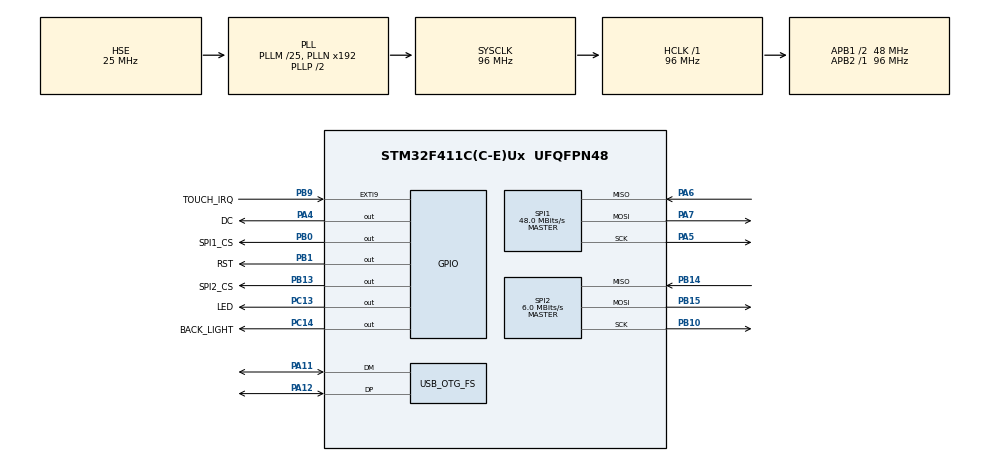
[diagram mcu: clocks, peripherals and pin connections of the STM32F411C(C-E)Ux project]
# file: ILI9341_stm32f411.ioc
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FREERTOS.Tasks01=defaultTask,0,128,StartDefaultTask,Default,NULL,Dynamic,NULL,NULL
Mcu.Family=STM32F4
Mcu.Name=STM32F411C(C-E)Ux
Mcu.Package=UFQFPN48
NVIC.OTG_FS_IRQn=true\:5\:0\:false\:false\:true\:true\:true\:true\:true
NVIC.PriorityGroup=NVIC_PRIORITYGROUP_4
NVIC.SPI2_IRQn=true\:5\:0\:false\:false\:true\:true\:true\:true\:true
NVIC.TIM4_IRQn=true\:15\:0\:false\:false\:true\:false\:false\:true\:true
NVIC.TimeBase=TIM4_IRQn
NVIC.TimeBaseIP=TIM4
PA11.Mode=Device_Only
PA11.Signal=USB_OTG_FS_DM
PA12.Mode=Device_Only
PA12.Signal=USB_OTG_FS_DP
PA13.Mode=Serial_Wire
PA13.Signal=SYS_JTMS-SWDIO
PA14.Mode=Serial_Wire
PA14.Signal=SYS_JTCK-SWCLK
PA4.GPIO_Label=DC
PA4.Signal=GPIO_Output
PA5.Mode=Full_Duplex_Master
PA5.Signal=SPI1_SCK
PA6.Mode=Full_Duplex_Master
PA6.Signal=SPI1_MISO
PA7.Mode=Full_Duplex_Master
PA7.Signal=SPI1_MOSI
PB0.GPIO_Label=SPI1_CS
PB0.Signal=GPIO_Output
PB1.GPIO_Label=RST
PB1.Signal=GPIO_Output
PB10.Mode=Full_Duplex_Master
PB10.Signal=SPI2_SCK
PB13.GPIO_Label=SPI2_CS
PB13.Signal=GPIO_Output
PB14.Mode=Full_Duplex_Master
PB14.Signal=SPI2_MISO
PB15.Mode=Full_Duplex_Master
PB15.Signal=SPI2_MOSI
PB9.GPIO_Label=TOUCH_IRQ
PB9.Signal=GPXTI9
PC13-ANTI_TAMP.GPIO_Label=LED
PC13-ANTI_TAMP.Signal=GPIO_Output
PC14-OSC32_IN.GPIO_Label=BACK_LIGHT
PC14-OSC32_IN.Signal=GPIO_Output
PH0\ -\ OSC_IN.Mode=HSE-External-Oscillator
PH0\ -\ OSC_IN.Signal=RCC_OSC_IN
PH1\ -\ OSC_OUT.Mode=HSE-External-Oscillator
PH1\ -\ OSC_OUT.Signal=RCC_OSC_OUT
ProjectManager.HeapSize=0x800
ProjectManager.StackSize=0x1000
ProjectManager.TargetToolchain=Makefile
RCC.48MHZClocksFreq_Value=48000000
RCC.AHBFreq_Value=96000000
RCC.APB1CLKDivider=RCC_HCLK_DIV2
RCC.APB1Freq_Value=48000000
RCC.APB1TimFreq_Value=96000000
RCC.APB2Freq_Value=96000000
RCC.APB2TimFreq_Value=96000000
RCC.CortexFreq_Value=96000000
RCC.HCLKFreq_Value=96000000
RCC.HSE_VALUE=25000000
RCC.HSI_VALUE=16000000
RCC.LSE_VALUE=32768
RCC.PLLM=25
RCC.SYSCLKFreq_VALUE=96000000
RCC.SYSCLKSource=RCC_SYSCLKSOURCE_PLLCLK
RCC.VCOOutputFreq_Value=192000000
SPI1.CalculateBaudRate=48.0 MBits/s
SPI1.Direction=SPI_DIRECTION_2LINES
SPI1.Mode=SPI_MODE_MASTER
SPI1.VirtualType=VM_MASTER
SPI2.BaudRatePrescaler=SPI_BAUDRATEPRESCALER_8
SPI2.CalculateBaudRate=6.0 MBits/s
SPI2.Direction=SPI_DIRECTION_2LINES
SPI2.Mode=SPI_MODE_MASTER
SPI2.VirtualType=VM_MASTER
USB_DEVICE.CLASS_NAME_FS=CDC
USB_DEVICE.VirtualMode=Cdc
USB_DEVICE.VirtualModeFS=Cdc_FS
USB_OTG_FS.VirtualMode=Device_Only
VP_FREERTOS_VS_CMSIS_V1.Mode=CMSIS_V1
VP_SYS_VS_tim4.Mode=TIM4
VP_USB_DEVICE_VS_USB_DEVICE_CDC_FS.Mode=CDC_FS
board=custom

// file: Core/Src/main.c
/* USER CODE BEGIN Header */
/**
  ******************************************************************************
  * @file           : main.c
  * @brief          : Main program body
  ******************************************************************************
  * @attention
  *
  * Copyright (c) 2025 STMicroelectronics.
  * All rights reserved.
  *
  * This software is licensed under terms that can be found in the LICENSE file
  * in the root directory of this software component.
  * If no LICENSE file comes with this software, it is provided AS-IS.
  *
  ******************************************************************************
  */
/* USER CODE END Header */
#include "main.h"
#include "cmsis_os.h"
#include "spi.h"
#include "usb_device.h"
#include "gpio.h"

void SystemClock_Config(void);
void MX_FREERTOS_Init(void);

int main(void)
{

  /* MCU Configuration--------------------------------------------------------*/

  /* Reset of all peripherals, Initializes the Flash interface and the Systick. */
  HAL_Init();

  /* Configure the system clock */
  SystemClock_Config();

  /* Initialize all configured peripherals */
  MX_GPIO_Init();
  MX_SPI1_Init();
  MX_SPI2_Init();

  /* Call init function for freertos objects (in freertos.c) */
  MX_FREERTOS_Init();

  /* Start scheduler */
  osKernelStart();

  /* We should never get here as control is now taken by the scheduler */
  /* Infinite loop */
  while (1)
  {

  }
}

void SystemClock_Config(void)
{
  RCC_OscInitTypeDef RCC_OscInitStruct = {0};
  RCC_ClkInitTypeDef RCC_ClkInitStruct = {0};

  /** Configure the main internal regulator output voltage
  */
  __HAL_RCC_PWR_CLK_ENABLE();
  __HAL_PWR_VOLTAGESCALING_CONFIG(PWR_REGULATOR_VOLTAGE_SCALE1);

  /** Initializes the RCC Oscillators according to the specified parameters
  * in the RCC_OscInitTypeDef structure.
  */
  RCC_OscInitStruct.OscillatorType = RCC_OSCILLATORTYPE_HSE;
  RCC_OscInitStruct.HSEState = RCC_HSE_ON;
  RCC_OscInitStruct.PLL.PLLState = RCC_PLL_ON;
  RCC_OscInitStruct.PLL.PLLSource = RCC_PLLSOURCE_HSE;
  RCC_OscInitStruct.PLL.PLLM = 25;
  RCC_OscInitStruct.PLL.PLLN = 192;
  RCC_OscInitStruct.PLL.PLLP = RCC_PLLP_DIV2;
  RCC_OscInitStruct.PLL.PLLQ = 4;
  if (HAL_RCC_OscConfig(&RCC_OscInitStruct) != HAL_OK)
  {
    Error_Handler();
  }

  /** Initializes the CPU, AHB and APB buses clocks
  */
  RCC_ClkInitStruct.ClockType = RCC_CLOCKTYPE_HCLK|RCC_CLOCKTYPE_SYSCLK
                              |RCC_CLOCKTYPE_PCLK1|RCC_CLOCKTYPE_PCLK2;
  RCC_ClkInitStruct.SYSCLKSource = RCC_SYSCLKSOURCE_PLLCLK;
  RCC_ClkInitStruct.AHBCLKDivider = RCC_SYSCLK_DIV1;
  RCC_ClkInitStruct.APB1CLKDivider = RCC_HCLK_DIV2;
  RCC_ClkInitStruct.APB2CLKDivider = RCC_HCLK_DIV1;

  if (HAL_RCC_ClockConfig(&RCC_ClkInitStruct, FLASH_LATENCY_3) != HAL_OK)
  {
    Error_Handler();
  }
}

void HAL_TIM_PeriodElapsedCallback(TIM_HandleTypeDef *htim)
{
  if (htim->Instance == TIM4) {
    HAL_IncTick();
  }
}

void Error_Handler(void)
{
  __disable_irq();
  while (1)
  {
  }
}

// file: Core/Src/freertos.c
/* USER CODE BEGIN Header */
/**
  ******************************************************************************
  * File Name          : freertos.c
  * Description        : Code for freertos applications
  ******************************************************************************
  * @attention
  *
  * Copyright (c) 2025 STMicroelectronics.
  * All rights reserved.
  *
  * This software is licensed under terms that can be found in the LICENSE file
  * in the root directory of this software component.
  * If no LICENSE file comes with this software, it is provided AS-IS.
  *
  ******************************************************************************
  */
/* USER CODE END Header */

#include "FreeRTOS.h"
#include "task.h"
#include "main.h"
#include "cmsis_os.h"

/* USER CODE BEGIN Includes */
#include "gpio.h"
#include "ili9341.h"
#include "fonts.h"
#include "logger.h"
#include "config.h"
#include "keyboard_layout.h"
#include "touch.h"
#include "touch_calibration.h"

// DMA transfer flag from ili9341.c
extern volatile uint8_t dma_transfer_complete;
/* USER CODE END Includes */

osThreadId defaultTaskHandle;

/* USER CODE BEGIN FunctionPrototypes */

void TouchTask(void const * argument);
void CalibrationTask(void const * argument);
void LivePacketTask(void const * argument);

/* USER CODE END FunctionPrototypes */

void StartDefaultTask(void const * argument);

extern void MX_USB_DEVICE_Init(void);
void MX_FREERTOS_Init(void); /* (MISRA C 2004 rule 8.1) */

/* GetIdleTaskMemory prototype (linked to static allocation support) */
void vApplicationGetIdleTaskMemory( StaticTask_t **ppxIdleTaskTCBBuffer, StackType_t **ppxIdleTaskStackBuffer, uint32_t *pulIdleTaskStackSize );

/* USER CODE BEGIN GET_IDLE_TASK_MEMORY */
static StaticTask_t xIdleTaskTCBBuffer;
static StackType_t xIdleStack[configMINIMAL_STACK_SIZE];

void vApplicationGetIdleTaskMemory( StaticTask_t **ppxIdleTaskTCBBuffer, StackType_t **ppxIdleTaskStackBuffer, uint32_t *pulIdleTaskStackSize )
{
  *ppxIdleTaskTCBBuffer = &xIdleTaskTCBBuffer;
  *ppxIdleTaskStackBuffer = &xIdleStack[0];
  *pulIdleTaskStackSize = configMINIMAL_STACK_SIZE;
  /* place for user code */
}
/* USER CODE END GET_IDLE_TASK_MEMORY */

void MX_FREERTOS_Init(void) {

  /* Create the thread(s) */
  /* definition and creation of defaultTask */
  osThreadDef(defaultTask, StartDefaultTask, osPriorityNormal, 0, 128);
  defaultTaskHandle = osThreadCreate(osThread(defaultTask), NULL);

  /* USER CODE BEGIN RTOS_THREADS */
  /* add threads, ... */

  #if ENABLE_TOUCHSCREEN
  // Create TouchTask for touchscreen handling
  //LOG_SendString("FREERTOS: Creating TouchTask...\r\n");
  osThreadDef(touchTask, TouchTask, osPriorityNormal, 0, 512);
  osThreadId touchTaskHandle = osThreadCreate(osThread(touchTask), NULL);
  if (touchTaskHandle == NULL) {
    //LOG_SendString("FREERTOS: ERROR - TouchTask creation failed!\r\n");
  } else {
    // LOG_SendString("FREERTOS: TouchTask created successfully\r\n");
  }
  #endif

  #if TOUCHSCREEN_CALIBRATION_ENABLED
  // Create CalibrationTask for touchscreen calibration
  osThreadDef(calibrationTask, CalibrationTask, CALIBRATION_TASK_PRIORITY, 0, CALIBRATION_TASK_STACK_SIZE);
  osThreadId calibrationTaskHandle = osThreadCreate(osThread(calibrationTask), NULL);
  if (calibrationTaskHandle == NULL) {
    // Error handling without logging (scheduler not started yet)
  }
  #endif

  #if ENABLE_LIVE_PACKET_TASK
  // Create LivePacketTask for live packet output (without logging to avoid USB conflicts)
  osThreadDef(livePacketTask, LivePacketTask, osPriorityBelowNormal, 0, 256);
  osThreadId livePacketTaskHandle = osThreadCreate(osThread(livePacketTask), NULL);
  #endif

  /* USER CODE END RTOS_THREADS */

}

void StartDefaultTask(void const * argument)
{
  /* init code for USB_DEVICE */
  MX_USB_DEVICE_Init();
  /* USER CODE BEGIN StartDefaultTask */

  // Simple GPIO test at startup
  LOG_SendString("GPIO: Testing PC13 LED pin at startup\r\n");
  __HAL_RCC_GPIOC_CLK_ENABLE();
  GPIOC->MODER &= ~GPIO_MODER_MODER13;    // Clear mode
  GPIOC->MODER |= GPIO_MODER_MODER13_0;   // Output mode
  GPIOC->BSRR = LED_Pin;                  // Set HIGH
  LOG_SendString("GPIO: PC13 set to HIGH - check if LED turns off\r\n");

  LOG_Init();
  osDelay(1000); // Give USB CDC time to initialize
  LOG_Printf("System: Starting application\n");

  // Touchscreen initialization is now in TouchTask

  // Turn on backlight
  LOG_Printf("GPIO: Turning on backlight\n");
  HAL_GPIO_WritePin(BACK_LIGHT_GPIO_Port, BACK_LIGHT_Pin, GPIO_PIN_SET);

  // Initialize display
  ILI9341_Init();

  // Set rotation to landscape mode (working orientation)
  LOG_Printf("Setting display to landscape mode");

  #if ENABLE_TOUCHSCREEN
  LOG_SendString("FREERTOS: TouchTask was created\r\n"); // ЗДЕСЬ БЕЗОПАСНО
  #endif

  ILI9341_SetRotation(0x28);  // Landscape mode

  // Small delay after rotation
  osDelay(100);

  // Fill screen with black
  ILI9341_FillScreen(ILI9341_BLACK);

  // Additional delay to ensure display is ready
  osDelay(200);

  #if ENABLE_TOUCHSCREEN && TOUCHSCREEN_CALIBRATION_ENABLED
  // Start calibration immediately after display init
  LOG_SendString("MAIN: Starting touchscreen calibration\r\n");
  TOUCH_StartCalibration();
  #endif

  // Debug: Check which task is active
  LOG_Printf("Config check active");

#if TASK_ALPHABET_DISPLAY == 1
  // Task 1: Display complete alphabet with two fonts
  LOG_Printf("Task: Alphabet Display");
  LOG_Printf("Font1: 5x7 pixels, Font1_2x: 10x14 pixels");

  // Font1 (5x7) - Uppercase A-Z
  const char *upper_az = "ABCDEFGHIJKLMNOPQRSTUVWXYZ";
  ILI9341_DrawString(10, 10, upper_az, ILI9341_WHITE, ILI9341_BLACK, 1, Font1);

  // Font1 (5x7) - Lowercase a-z
  const char *lower_az = "abcdefghijklmnopqrstuvwxyz";
  ILI9341_DrawString(10, 25, lower_az, ILI9341_CYAN, ILI9341_BLACK, 1, Font1);

  // Font1_2x (10x14) - Uppercase A-Z
  ILI9341_DrawStringLarge(10, 45, upper_az, ILI9341_YELLOW, ILI9341_BLACK);

  // Font1_2x (10x14) - Lowercase a-z
  ILI9341_DrawStringLarge(10, 75, lower_az, ILI9341_RED, ILI9341_BLACK);

#elif TASK_SCROLLING_HELLO == 1
  // Task 2: Cyclic scrolling "Hello World!" text in large font
  LOG_Printf("Task: Scrolling Hello World!");
  LOG_Printf("Cyclic scrolling text with Font1_2x");

  static int scroll_pos = 320; // Start from right edge
  const char *hello_text = "Hello World! ";
  const int text_width = 12 * 13; // Approximate width of text in large font

  int prev_scroll_pos = scroll_pos;

  LOG_Printf("Starting scroll loop with optimized rendering...");

  // Double buffering for flicker-free scrolling
  // Buffer for the text line area: 320 pixels wide x 30 pixels high
  #define TEXT_BUFFER_WIDTH 320
  #define TEXT_BUFFER_HEIGHT 30
  #define TEXT_BUFFER_SIZE (TEXT_BUFFER_WIDTH * TEXT_BUFFER_HEIGHT)

  static uint16_t text_buffer[TEXT_BUFFER_SIZE]; // 320*30*2 = 19,200 bytes

  while (1) {
    // Clear the software buffer (fast memory operation)
    for (int i = 0; i < TEXT_BUFFER_SIZE; i++) {
      text_buffer[i] = ILI9341_BLACK;
    }

    // Draw text into the software buffer (no SPI, pure memory)
    // Simulate drawing at the current scroll position
    int buffer_x = scroll_pos;
    const char *text_ptr = hello_text;

    while (*text_ptr && buffer_x < TEXT_BUFFER_WIDTH) {
      // Draw character into buffer using actual font data
      if (*text_ptr >= 32 && *text_ptr < 127) {
        int char_index = *text_ptr - 32;

        // Render each column of the character
        for (int col = 0; col < 5 && buffer_x + col * 2 < TEXT_BUFFER_WIDTH; col++) {
          uint8_t line = Font1[char_index * 5 + col];

          // Render each row of the character (scaled 2x)
          for (int row = 0; row < 7; row++) {
            if (line & 0x1) {  // Pixel is set in font
              // Scale 2x: draw 2x2 pixel block
              int pixel_y = 5 + row * 2;  // Center vertically, scale by 2

              for (int sy = 0; sy < 2 && pixel_y + sy < TEXT_BUFFER_HEIGHT; sy++) {
                for (int sx = 0; sx < 2 && buffer_x + col * 2 + sx < TEXT_BUFFER_WIDTH; sx++) {
                  int pixel_x = buffer_x + col * 2 + sx;
                  text_buffer[(pixel_y + sy) * TEXT_BUFFER_WIDTH + pixel_x] = ILI9341_GREEN;
                }
              }
            }
            line >>= 1;  // Next row bit
          }
        }
        buffer_x += 13; // Character width (10px) + spacing (3px)
      }
      text_ptr++;
    }

    // Transfer the entire buffer to display via DMA (single operation)
    ILI9341_SetAddressWindow(0, 105, TEXT_BUFFER_WIDTH - 1, 105 + TEXT_BUFFER_HEIGHT - 1);

    // Use DMA for the buffer transfer (19,200 bytes)
    TFT_DC_HIGH;
    TFT_CS_LOW;

    // For now, use regular SPI for testing (more reliable)
    HAL_SPI_Transmit(&hspi1, (uint8_t*)text_buffer, TEXT_BUFFER_SIZE * 2, HAL_MAX_DELAY);

    TFT_CS_HIGH;

    // Update positions
    prev_scroll_pos = scroll_pos;
    scroll_pos -= 1; // Move left by 1 pixel for smoother animation

    // Reset position when text goes off screen
    if (scroll_pos < -text_width) {
      scroll_pos = 320;
      prev_scroll_pos = scroll_pos;
    }

    // Optimized delay for very smooth scrolling
    osDelay(20); // 50 FPS for ultra smooth animation

    // Yield to other tasks to prevent starvation
    taskYIELD();
  }

#elif TASK_QWERTY_KEYBOARD == 1
  // Task 3: Draw QWERTY keyboard layout with borders for touchscreen
  LOG_Printf("Task: QWERTY Keyboard Layout");
  LOG_Printf("Drawing keyboard with borders for touchscreen");

  // Clear screen to black
  ILI9341_FillScreen(ILI9341_BLACK);

  // Render the complete keyboard interface using the layout module
  render_keyboard_interface();

  LOG_Printf("QWERTY keyboard layout drawn");

#endif

  /* Infinite loop */
  for(;;)
  {
    // Process calibration UI updates
    TOUCH_ProcessCalibrationUI();

    HAL_GPIO_TogglePin(LED_GPIO_Port, LED_Pin);
    osDelay(500);
  }
  /* USER CODE END StartDefaultTask */
}

/* USER CODE BEGIN Application */

// Переопределение HAL_Delay для совместимости с FreeRTOS
void HAL_Delay(uint32_t Delay)
{
  osDelay(Delay);
}

void vApplicationStackOverflowHook(TaskHandle_t xTask, char *pcTaskName)
{
    /* Called if stack overflow is detected */
    LOG_Printf("STACK OVERFLOW in task: %s\r\n", pcTaskName);
    taskDISABLE_INTERRUPTS();
    while(1);
}

void vApplicationMallocFailedHook(void)
{
    /* Called if pvPortMalloc() fails */
    LOG_SendString("MALLOC FAILED - Out of heap memory!\r\n");
    taskDISABLE_INTERRUPTS();
    while(1);
}

void TouchTask(void const * argument) {
    LOG_SendString("TOUCH: TouchTask started\r\n");

    // Подождите немного перед инициализацией
    osDelay(100);

    // Initialize touchscreen in the task
    TOUCH_Init();

    LOG_SendString("TOUCH: Initialization complete\r\n");

    while (1) {
        // Check if touchscreen is currently touched
        if (TOUCH_IsTouched()) {
            // Small delay to debounce
            osDelay(10);

            // Read touch data if still touched
            if (TOUCH_IsTouched()) {
                touch_data_t touch_data;
                if (TOUCH_ReadData(&touch_data)) {

                    // Handle calibration mode in TouchTask (not in interrupt)
                    if (calibration_active == 1 && (touch_data.event == TOUCH_EVENT_PRESS || touch_data.event == TOUCH_EVENT_MOVE)) {
                        LOG_SendString("TOUCH: Processing calibration touch in TouchTask\r\n");
                        // Get raw coordinates for calibration (before orientation correction in TOUCH_ReadData)
                        uint16_t raw_x = TOUCH_ReadX();
                        uint16_t raw_y = TOUCH_ReadY();
                        TOUCH_HandleCalibrationTouch(raw_x, raw_y);
                    }

                    // Handle menu mode
                    if (calibration_active == 2 && (touch_data.event == TOUCH_EVENT_PRESS || touch_data.event == TOUCH_EVENT_MOVE)) {
                        LOG_SendString("TOUCH: Processing menu touch in TouchTask\r\n");
                        // Get raw coordinates for menu selection
                        uint16_t raw_x = TOUCH_ReadX();
                        uint16_t raw_y = TOUCH_ReadY();
                        // TOUCH_HandleMenuTouch expects corrected coordinates
                        raw_x = 4095 - raw_x;  // Apply correction
                        raw_y = 4095 - raw_y;
                        TOUCH_HandleMenuTouch(raw_x, raw_y);
                    }

                    #if ENABLE_TOUCH_DEBUG
                    LOG_Printf("TOUCH: Event=%d, X=%d, Y=%d, Pressure=%d\r\n",
                               touch_data.event, touch_data.x, touch_data.y,
                               touch_data.pressure);
                    #endif
                }
            }
        }

        // Small delay to prevent CPU hogging
        osDelay(50);
    }
}

void CalibrationTask(void const * argument) {
    LOG_SendString("CALIBRATION: Task started\r\n");

    // Initialize calibration module
    TOUCH_CALIBRATION_Init();

    // // Wait for the specified delay before starting calibration
    osDelay(CALIBRATION_START_DELAY_MS);

    LOG_SendString("CALIBRATION: Starting calibration process\r\n");

    // Start calibration
    TOUCH_StartCalibration();

    // Task ends after starting calibration - UI updates are handled in StartDefaultTask
    LOG_SendString("CALIBRATION: Task completed\r\n");

    // Delete the task since it's no longer needed
    vTaskDelete(NULL);
}

/* USER CODE END Application */
